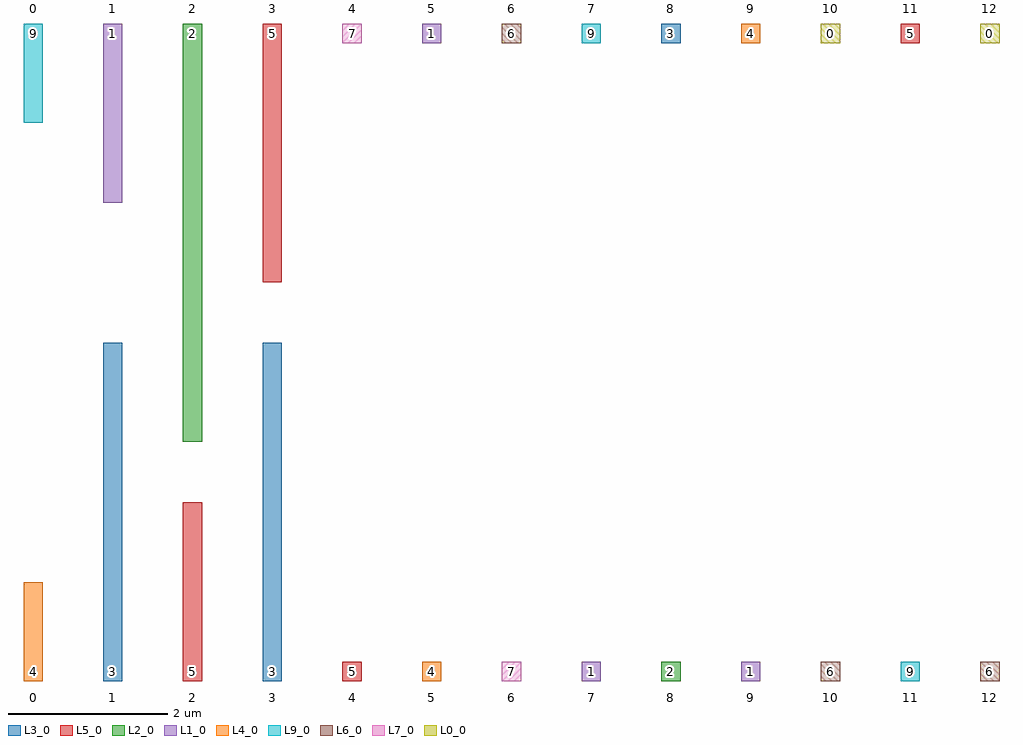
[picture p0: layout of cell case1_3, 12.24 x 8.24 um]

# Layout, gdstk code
import gdstk
lib = gdstk.Library(unit=1e-6, precision=1e-09)
def R(c, l, rs):  # rectangles x0, y0, x1, y1
    for r in rs: c.add(gdstk.rectangle(r[:2], r[2:], *l))
L0_0 = (0, 0)
L1_0 = (1, 0)
L2_0 = (2, 0)
L3_0 = (3, 0)
L4_0 = (4, 0)
L5_0 = (5, 0)
L6_0 = (6, 0)
L7_0 = (7, 0)
L9_0 = (9, 0)

case1_3 = lib.new_cell('case1_3')
R(case1_3, L0_0, [(9.88,7.88,10.12,8.12), (11.88,7.88,12.12,8.12)])
R(case1_3, L1_0, [(6.88,-0.12,7.12,0.12), (8.88,-0.12,9.12,0.12), (0.88,5.88,1.12,8.12), (0.88,7.88,1.12,8.12), (4.88,7.88,5.12,8.12)])
R(case1_3, L2_0, [(7.88,-0.12,8.12,0.12), (1.88,2.88,2.12,8.12), (1.88,7.88,2.12,8.12)])
R(case1_3, L3_0, [(0.88,-0.12,1.12,4.12), (0.88,-0.12,1.12,0.12), (2.88,-0.12,3.12,4.12), (2.88,-0.12,3.12,0.12), (7.88,7.88,8.12,8.12)])
R(case1_3, L4_0, [(-0.12,-0.12,0.12,1.12), (-0.12,-0.12,0.12,0.12), (4.88,-0.12,5.12,0.12), (8.88,7.88,9.12,8.12)])
R(case1_3, L5_0, [(1.88,-0.12,2.12,2.12), (1.88,-0.12,2.12,0.12), (3.88,-0.12,4.12,0.12), (2.88,4.88,3.12,8.12), (2.88,7.88,3.12,8.12), (10.88,7.88,11.12,8.12)])
R(case1_3, L6_0, [(9.88,-0.12,10.12,0.12), (11.88,-0.12,12.12,0.12), (5.88,7.88,6.12,8.12)])
R(case1_3, L7_0, [(5.88,-0.12,6.12,0.12), (3.88,7.88,4.12,8.12)])
R(case1_3, L9_0, [(10.88,-0.12,11.12,0.12), (-0.12,6.88,0.12,8.12), (-0.12,7.88,0.12,8.12), (6.88,7.88,7.12,8.12)])
case1_3.add(gdstk.Label('0', (0,8.4), layer=215, texttype=1))
case1_3.add(gdstk.Label('9', (0,8), layer=215, texttype=1))
case1_3.add(gdstk.Label('1', (1,8.4), layer=215, texttype=1))
case1_3.add(gdstk.Label('1', (1,8), layer=215, texttype=1))
case1_3.add(gdstk.Label('2', (2,8.4), layer=215, texttype=1))
case1_3.add(gdstk.Label('2', (2,8), layer=215, texttype=1))
case1_3.add(gdstk.Label('3', (3,8.4), layer=215, texttype=1))
case1_3.add(gdstk.Label('5', (3,8), layer=215, texttype=1))
case1_3.add(gdstk.Label('4', (4,8.4), layer=215, texttype=1))
case1_3.add(gdstk.Label('7', (4,8), layer=215, texttype=1))
case1_3.add(gdstk.Label('5', (5,8.4), layer=215, texttype=1))
case1_3.add(gdstk.Label('1', (5,8), layer=215, texttype=1))
case1_3.add(gdstk.Label('6', (6,8.4), layer=215, texttype=1))
case1_3.add(gdstk.Label('6', (6,8), layer=215, texttype=1))
case1_3.add(gdstk.Label('7', (7,8.4), layer=215, texttype=1))
case1_3.add(gdstk.Label('9', (7,8), layer=215, texttype=1))
case1_3.add(gdstk.Label('8', (8,8.4), layer=215, texttype=1))
case1_3.add(gdstk.Label('3', (8,8), layer=215, texttype=1))
case1_3.add(gdstk.Label('9', (9,8.4), layer=215, texttype=1))
case1_3.add(gdstk.Label('4', (9,8), layer=215, texttype=1))
case1_3.add(gdstk.Label('10', (10,8.4), layer=215, texttype=1))
case1_3.add(gdstk.Label('0', (10,8), layer=215, texttype=1))
case1_3.add(gdstk.Label('11', (11,8.4), layer=215, texttype=1))
case1_3.add(gdstk.Label('5', (11,8), layer=215, texttype=1))
case1_3.add(gdstk.Label('12', (12,8.4), layer=215, texttype=1))
case1_3.add(gdstk.Label('0', (12,8), layer=215, texttype=1))
case1_3.add(gdstk.Label('0', (0,-0.4), layer=215, texttype=1))
case1_3.add(gdstk.Label('4', (0,0), layer=215, texttype=1))
case1_3.add(gdstk.Label('1', (1,-0.4), layer=215, texttype=1))
case1_3.add(gdstk.Label('3', (1,0), layer=215, texttype=1))
case1_3.add(gdstk.Label('2', (2,-0.4), layer=215, texttype=1))
case1_3.add(gdstk.Label('5', (2,0), layer=215, texttype=1))
case1_3.add(gdstk.Label('3', (3,-0.4), layer=215, texttype=1))
case1_3.add(gdstk.Label('3', (3,0), layer=215, texttype=1))
case1_3.add(gdstk.Label('4', (4,-0.4), layer=215, texttype=1))
case1_3.add(gdstk.Label('5', (4,0), layer=215, texttype=1))
case1_3.add(gdstk.Label('5', (5,-0.4), layer=215, texttype=1))
case1_3.add(gdstk.Label('4', (5,0), layer=215, texttype=1))
case1_3.add(gdstk.Label('6', (6,-0.4), layer=215, texttype=1))
case1_3.add(gdstk.Label('7', (6,0), layer=215, texttype=1))
case1_3.add(gdstk.Label('7', (7,-0.4), layer=215, texttype=1))
case1_3.add(gdstk.Label('1', (7,0), layer=215, texttype=1))
case1_3.add(gdstk.Label('8', (8,-0.4), layer=215, texttype=1))
case1_3.add(gdstk.Label('2', (8,0), layer=215, texttype=1))
case1_3.add(gdstk.Label('9', (9,-0.4), layer=215, texttype=1))
case1_3.add(gdstk.Label('1', (9,0), layer=215, texttype=1))
case1_3.add(gdstk.Label('10', (10,-0.4), layer=215, texttype=1))
case1_3.add(gdstk.Label('6', (10,0), layer=215, texttype=1))
case1_3.add(gdstk.Label('11', (11,-0.4), layer=215, texttype=1))
case1_3.add(gdstk.Label('9', (11,0), layer=215, texttype=1))
case1_3.add(gdstk.Label('12', (12,-0.4), layer=215, texttype=1))
case1_3.add(gdstk.Label('6', (12,0), layer=215, texttype=1))

lib.write_gds('case1_3.gds')
